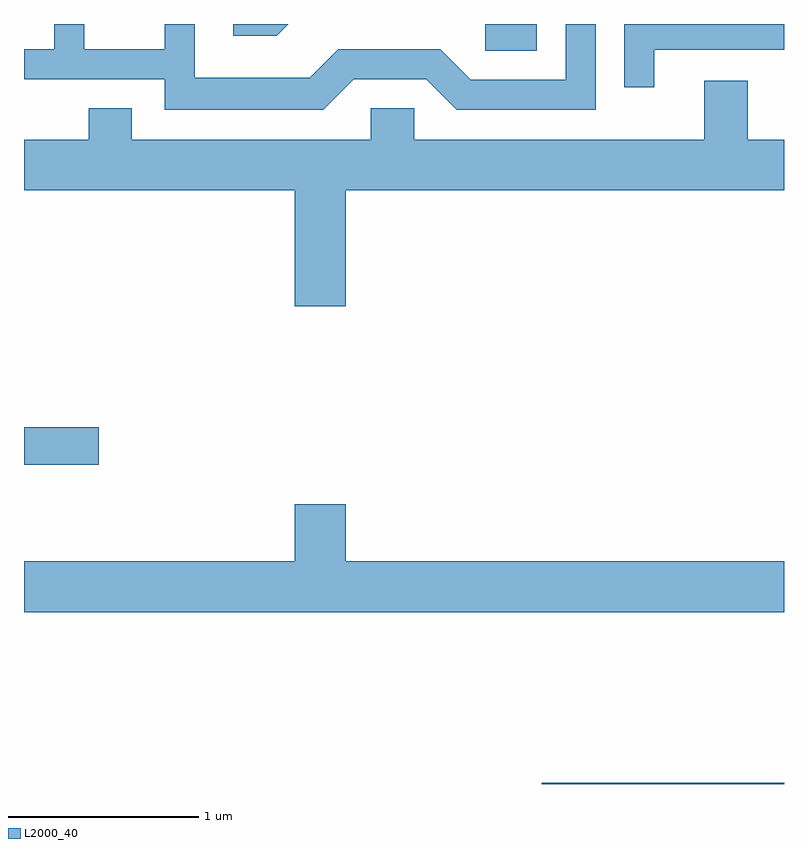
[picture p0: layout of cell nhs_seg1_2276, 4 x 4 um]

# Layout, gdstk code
import gdstk
lib = gdstk.Library(unit=1e-6, precision=1e-09)
def R(c, l, rs):  # rectangles x0, y0, x1, y1
    for r in rs: c.add(gdstk.rectangle(r[:2], r[2:], *l))
def P(c, l, *ps):  # polygons
    for p in ps: c.add(gdstk.Polygon(p, *l))
L2000_40 = (2000, 40)

nhs_seg1_2276 = lib.new_cell('nhs_seg1_2276')
R(nhs_seg1_2276, L2000_40, [(256.336,969.712,257.611,969.719), (253.611,971.391,254.004,971.589), (256.038,973.571,256.309,973.712)])
P(nhs_seg1_2276, L2000_40, [(255.003,973.712),(254.713,973.712),(254.713,973.651),(254.942,973.651)],
  [(255.347,973.421),(255.729,973.421),(255.889,973.261),(256.619,973.261),(256.619,973.712),(256.461,973.712),(256.461,973.419),(255.962,973.419),(255.802,973.579),(255.264,973.579),(255.114,973.429),(254.509,973.429),(254.509,973.712),(254.351,973.712),(254.351,973.579),(253.929,973.579),(253.929,973.712),(253.771,973.712),(253.771,973.579),(253.611,973.579),(253.611,973.421),(254.351,973.421),(254.351,973.261),(255.187,973.261)],
  [(256.929,973.576),(257.611,973.576),(257.611,973.712),(256.771,973.712),(256.771,973.378),(256.929,973.378)],
  [(255.304,972.836),(257.611,972.836),(257.611,973.104),(257.419,973.104),(257.419,973.414),(257.191,973.414),(257.191,973.104),(255.664,973.104),(255.664,973.269),(255.436,973.269),(255.436,973.104),(254.179,973.104),(254.179,973.269),(253.951,973.269),(253.951,973.104),(253.611,973.104),(253.611,972.836),(255.036,972.836),(255.036,972.226),(255.304,972.226)],
  [(257.611,970.884),(255.304,970.884),(255.304,971.184),(255.036,971.184),(255.036,970.884),(253.611,970.884),(253.611,970.616),(257.611,970.616)])

lib.write_gds('nhs_seg1_2276.gds')
